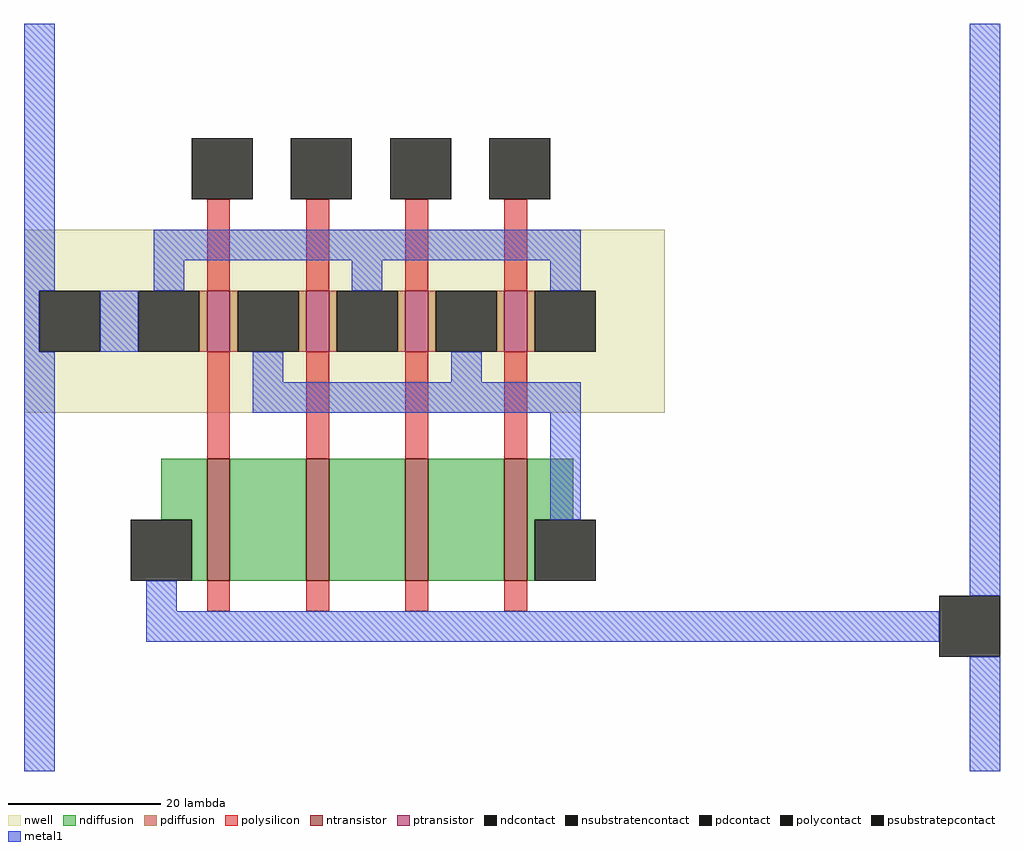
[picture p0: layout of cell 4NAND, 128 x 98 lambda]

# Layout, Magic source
magic
tech tsmc
<< nwell >>
rect -18 -8 66 16
<< ntransistor >>
rect 6 -30 9 -14
rect 19 -30 22 -14
rect 32 -30 35 -14
rect 45 -30 48 -14
<< ptransistor >>
rect 6 0 9 8
rect 19 0 22 8
rect 32 0 35 8
rect 45 0 48 8
<< ndiffusion >>
rect 0 -22 6 -14
rect 4 -30 6 -22
rect 9 -30 19 -14
rect 22 -30 32 -14
rect 35 -30 45 -14
rect 48 -22 54 -14
rect 48 -30 49 -22
<< pdiffusion >>
rect 5 0 6 8
rect 9 0 10 8
rect 18 0 19 8
rect 22 0 23 8
rect 31 0 32 8
rect 35 0 36 8
rect 44 0 45 8
rect 48 0 49 8
<< ndcontact >>
rect -4 -30 4 -22
rect 49 -30 57 -22
<< pdcontact >>
rect -3 0 5 8
rect 10 0 18 8
rect 23 0 31 8
rect 36 0 44 8
rect 49 0 57 8
<< psubstratepcontact >>
rect 102 -40 110 -32
<< nsubstratencontact >>
rect -16 0 -8 8
<< polysilicon >>
rect 6 8 9 20
rect 19 8 22 20
rect 32 8 35 20
rect 45 8 48 20
rect 6 -14 9 0
rect 19 -14 22 0
rect 32 -14 35 0
rect 45 -14 48 0
rect 6 -34 9 -30
rect 19 -34 22 -30
rect 32 -34 35 -30
rect 45 -34 48 -30
<< polycontact >>
rect 4 20 12 28
rect 17 20 25 28
rect 30 20 38 28
rect 43 20 51 28
<< metal1 >>
rect -18 8 -14 43
rect -1 12 55 16
rect -1 8 3 12
rect 25 8 29 12
rect 51 8 55 12
rect -18 0 -16 8
rect -8 0 -3 8
rect -18 -55 -14 0
rect 12 -4 16 0
rect 38 -4 42 0
rect 12 -8 55 -4
rect 51 -22 55 -8
rect -2 -34 2 -30
rect 106 -32 110 43
rect -2 -38 102 -34
rect 106 -55 110 -40
<< end >>
